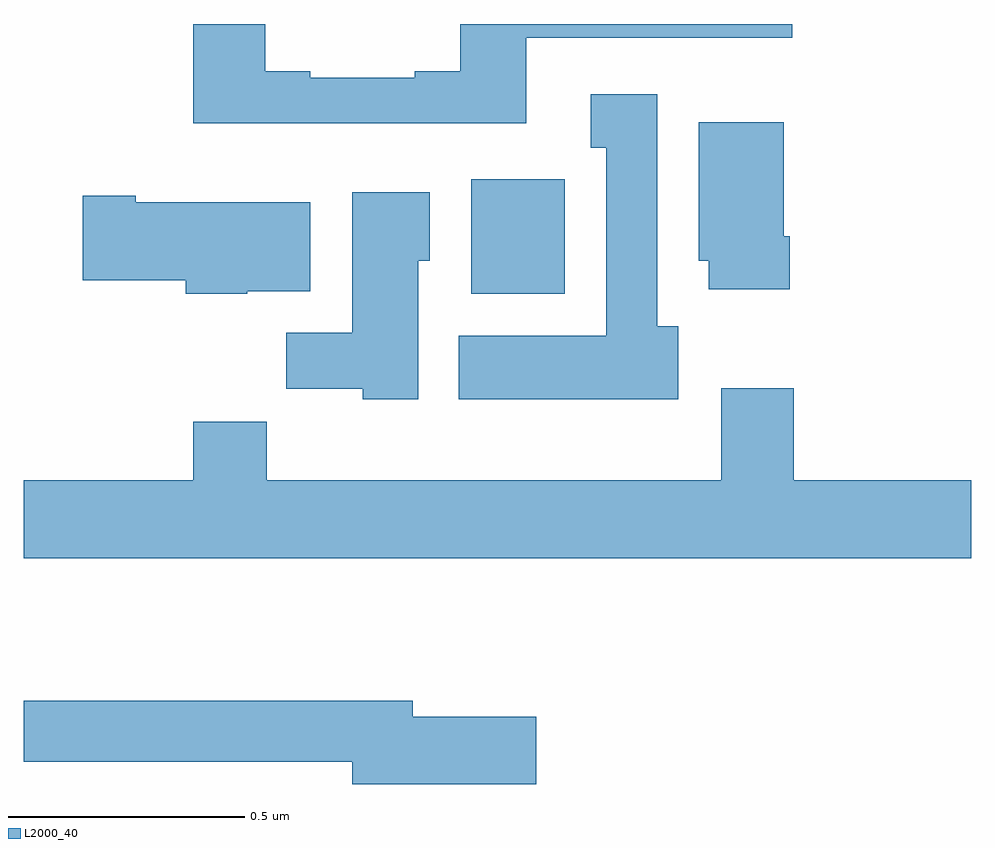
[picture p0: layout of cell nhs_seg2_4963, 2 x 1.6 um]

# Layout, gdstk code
import gdstk
lib = gdstk.Library(unit=1e-6, precision=1e-09)
def R(c, l, rs):  # rectangles x0, y0, x1, y1
    for r in rs: c.add(gdstk.rectangle(r[:2], r[2:], *l))
def P(c, l, *ps):  # polygons
    for p in ps: c.add(gdstk.Polygon(p, *l))
L2000_40 = (2000, 40)

nhs_seg2_4963 = lib.new_cell('nhs_seg2_4963')
R(nhs_seg2_4963, L2000_40, [(173.945,612.23,174.142,612.472)])
P(nhs_seg2_4963, L2000_40, [(174.061,612.771),(174.622,612.771),(174.622,612.8),(173.921,612.8),(173.921,612.7),(173.825,612.7),(173.825,612.687),(173.605,612.687),(173.605,612.7),(173.509,612.7),(173.509,612.8),(173.357,612.8),(173.357,612.59),(174.061,612.59)],
  [(174.382,612.162),(174.337,612.162),(174.337,612.652),(174.197,612.652),(174.197,612.539),(174.23,612.539),(174.23,612.142),(173.918,612.142),(173.918,612.008),(174.382,612.008)],
  [(174.617,612.352),(174.604,612.352),(174.604,612.592),(174.425,612.592),(174.425,612.3),(174.446,612.3),(174.446,612.24),(174.617,612.24)],
  [(173.833,612.3),(173.857,612.3),(173.857,612.445),(173.693,612.445),(173.693,612.148),(173.554,612.148),(173.554,612.03),(173.715,612.03),(173.715,612.008),(173.833,612.008)],
  [(173.472,612.236),(173.605,612.236),(173.605,612.424),(173.236,612.424),(173.236,612.437),(173.124,612.437),(173.124,612.259),(173.342,612.259),(173.342,612.23),(173.472,612.23)],
  [(175,611.836),(174.626,611.836),(174.626,612.031),(174.473,612.031),(174.473,611.836),(173.513,611.836),(173.513,611.96),(173.357,611.96),(173.357,611.836),(173,611.836),(173,611.672),(175,611.672)],
  [(174.082,611.337),(173.821,611.337),(173.821,611.371),(173,611.371),(173,611.242),(173.693,611.242),(173.693,611.195),(174.082,611.195)])

lib.write_gds('nhs_seg2_4963.gds')
